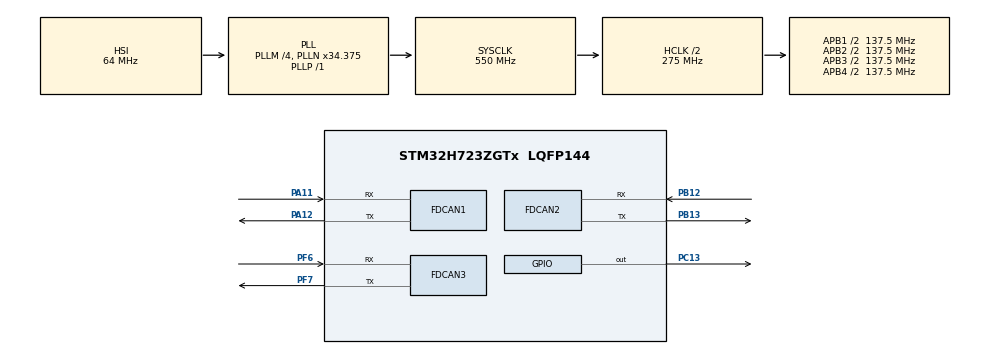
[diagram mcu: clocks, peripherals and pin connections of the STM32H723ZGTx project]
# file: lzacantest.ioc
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CORTEX_M7.default_mode_Activation=1
FDCAN1.CalculateBaudRateNominal=499999
FDCAN1.CalculateTimeBitNominal=2000
FDCAN1.CalculateTimeQuantumNominal=83.33333333333334
FDCAN1.NominalPrescaler=10
FDCAN1.NominalTimeSeg1=12
FDCAN1.NominalTimeSeg2=11
FDCAN1.RxFifo0ElmtsNbr=8
FDCAN1.RxFifo1ElmtsNbr=8
FDCAN1.TxFifoQueueElmtsNbr=8
FDCAN2.CalculateBaudRateNominal=499999
FDCAN2.CalculateTimeBitNominal=2000
FDCAN2.CalculateTimeQuantumNominal=83.33333333333334
FDCAN2.NominalPrescaler=10
FDCAN2.NominalTimeSeg1=12
FDCAN2.NominalTimeSeg2=11
FDCAN2.RxFifo0ElmtsNbr=8
FDCAN2.RxFifo1ElmtsNbr=8
FDCAN2.StdFiltersNbr=1
FDCAN2.TxFifoQueueElmtsNbr=8
FDCAN3.CalculateBaudRateNominal=499999
FDCAN3.CalculateTimeBitNominal=2000
FDCAN3.CalculateTimeQuantumNominal=83.33333333333334
FDCAN3.Mode=FDCAN_MODE_INTERNAL_LOOPBACK
FDCAN3.NominalPrescaler=10
FDCAN3.NominalTimeSeg1=12
FDCAN3.NominalTimeSeg2=11
FDCAN3.RxFifo0ElmtsNbr=8
FDCAN3.RxFifo1ElmtsNbr=8
FDCAN3.StdFiltersNbr=1
FDCAN3.TxFifoQueueElmtsNbr=8
Mcu.Family=STM32H7
Mcu.Name=STM32H723ZGTx
Mcu.Package=LQFP144
NVIC.PriorityGroup=NVIC_PRIORITYGROUP_4
NVIC.TIM1_UP_IRQn=true\:0\:0\:false\:false\:true\:true\:true\:true
PA11.Mode=FDCAN_Activate
PA11.Signal=FDCAN1_RX
PA12.Mode=FDCAN_Activate
PA12.Signal=FDCAN1_TX
PA13(JTMS/SWDIO).Mode=Serial_Wire
PA13(JTMS/SWDIO).Signal=DEBUG_JTMS-SWDIO
PA14(JTCK/SWCLK).Mode=Serial_Wire
PA14(JTCK/SWCLK).Signal=DEBUG_JTCK-SWCLK
PB12.Mode=FDCAN_Activate
PB12.Signal=FDCAN2_RX
PB13.Mode=FDCAN_Activate
PB13.Signal=FDCAN2_TX
PC13.Signal=GPIO_Output
PC14-OSC32_IN.Mode=LSE-External-Oscillator
PC14-OSC32_IN.Signal=RCC_OSC32_IN
PC15-OSC32_OUT.Mode=LSE-External-Oscillator
PC15-OSC32_OUT.Signal=RCC_OSC32_OUT
PF6.Mode=FDCAN_Activate
PF6.Signal=FDCAN3_RX
PF7.Mode=FDCAN_Activate
PF7.Signal=FDCAN3_TX
PH0-OSC_IN.Mode=HSE-External-Oscillator
PH0-OSC_IN.Signal=RCC_OSC_IN
PH1-OSC_OUT.Mode=HSE-External-Oscillator
PH1-OSC_OUT.Signal=RCC_OSC_OUT
ProjectManager.HeapSize=0x200
ProjectManager.StackSize=0x400
ProjectManager.TargetToolchain=CMake
RCC.ADCFreq_Value=120000000
RCC.APB1Freq_Value=137500000
RCC.APB2Freq_Value=137500000
RCC.APB3Freq_Value=137500000
RCC.APB4Freq_Value=137500000
RCC.CortexFreq_Value=550000000
RCC.D1PPRE=RCC_APB3_DIV2
RCC.D2PPRE1=RCC_APB1_DIV2
RCC.D2PPRE2=RCC_APB2_DIV2
RCC.D3PPRE=RCC_APB4_DIV2
RCC.DIVM1=4
RCC.DIVN1=34
RCC.DIVN2=120
RCC.DIVP1=1
RCC.DIVQ1=4
RCC.FDCANCLockSelection=RCC_FDCANCLKSOURCE_PLL2
RCC.HCLKFreq_Value=275000000
RCC.HPRE=RCC_HCLK_DIV2
RCC.PLL2FRACN=0
RCC.PLL3FRACN=0
RCC.PLLFRACN=3072
RCC.SYSCLKFreq_VALUE=550000000
RCC.SYSCLKSource=RCC_SYSCLKSOURCE_PLLCLK
RCC.USBFreq_Value=137500000
TIM1.Period=1000 - 1
TIM1.Prescaler=275 - 1
VP_MEMORYMAP_VS_MEMORYMAP.Mode=CurAppReg
VP_TIM1_VS_ClockSourceINT.Mode=Internal
board=custom

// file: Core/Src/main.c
/* USER CODE BEGIN Header */
/**
  ******************************************************************************
  * @file           : main.c
  * @brief          : Main program body
  ******************************************************************************
  * @attention
  *
  * Copyright (c) 2026 STMicroelectronics.
  * All rights reserved.
  *
  * This software is licensed under terms that can be found in the LICENSE file
  * in the root directory of this software component.
  * If no LICENSE file comes with this software, it is provided AS-IS.
  *
  ******************************************************************************
  */
/* USER CODE END Header */
#include "main.h"
#include "fdcan.h"
#include "tim.h"
#include "gpio.h"

/* USER CODE BEGIN Includes */

#include "tim.h"

/* USER CODE END Includes */

/* USER CODE BEGIN PV */

uint8_t can_loop_flag = 0;  // 当前can标志位
// 定义CAN报文头和数据
FDCAN_TxHeaderTypeDef TxHeader1;
FDCAN_TxHeaderTypeDef TxHeader2;
FDCAN_RxHeaderTypeDef RxHeader1;
FDCAN_RxHeaderTypeDef RxHeader2;
uint8_t TxData1[8];
uint8_t TxData2[8];
uint8_t RxData1[8];
uint8_t RxData2[8];

/* FDCAN3 回环测试变量 */
FDCAN_TxHeaderTypeDef TxHeader3;
FDCAN_RxHeaderTypeDef RxHeader3;
uint8_t TxData3[8];
uint8_t RxData3[8];

/* USER CODE END PV */

void SystemClock_Config(void);
void PeriphCommonClock_Config(void);
static void MPU_Config(void);

/* USER CODE BEGIN 0 */

void HAL_TIM_PeriodElapsedCallback(TIM_HandleTypeDef *htim) {

  if (htim->Instance == TIM1) {
    can_loop_flag = 1; // 设置标志位，表示可以开始CAN通信
  }
}

/* USER CODE END 0 */

int main(void)
{

  /* MPU Configuration--------------------------------------------------------*/
  MPU_Config();

  /* MCU Configuration--------------------------------------------------------*/

  /* Reset of all peripherals, Initializes the Flash interface and the Systick. */
  HAL_Init();

  /* Configure the system clock */
  SystemClock_Config();

  /* Configure the peripherals common clocks */
  PeriphCommonClock_Config();

  /* Initialize all configured peripherals */
  MX_GPIO_Init();
  MX_FDCAN1_Init();
  MX_TIM1_Init();
  MX_FDCAN2_Init();
  MX_FDCAN3_Init();
  /* USER CODE BEGIN 2 */

  // 开启定时器中断
  HAL_TIM_Base_Start_IT(&htim1);
  // 开启CAN
  HAL_FDCAN_Start(&hfdcan1);
  HAL_FDCAN_Start(&hfdcan2);
  // 配置CAN滤波器
  FDCAN_FilterTypeDef sFilterConfig1;
  sFilterConfig1.IdType = FDCAN_STANDARD_ID;
  sFilterConfig1.FilterIndex = 0;  // 使用第一个滤波器
  sFilterConfig1.FilterType = FDCAN_FILTER_MASK;  // 设置滤波器类型为掩码模式
  sFilterConfig1.FilterConfig = FDCAN_FILTER_TO_RXFIFO0;  // 设置滤波器配置为接收FIFO0
  sFilterConfig1.FilterID1 = 0x000;  // 设置滤波器ID1为0x123
  sFilterConfig1.FilterID2 = 0x000; // 设置滤波器ID2为0x7FF，表示只接收ID为0x123的报文
  if (HAL_FDCAN_ConfigFilter(&hfdcan1, &sFilterConfig1) != HAL_OK)
  {
    // 滤波器配置失败，进行错误处理
    Error_Handler();
  }

  FDCAN_FilterTypeDef sFilterConfig2;
  sFilterConfig2.IdType = FDCAN_STANDARD_ID;
  sFilterConfig2.FilterIndex = 0;  // 使用第一个滤波器
  sFilterConfig2.FilterType = FDCAN_FILTER_MASK;  // 设置滤波器类型为掩码模式
  sFilterConfig2.FilterConfig = FDCAN_FILTER_TO_RXFIFO0;  // 设置滤波器配置为接收FIFO0
  sFilterConfig2.FilterID1 = 0x000;  // 设置滤波器ID1为0x456
  sFilterConfig2.FilterID2 = 0x000; // 设置滤波器ID2为0x7FF，表示只接收ID为0x456的报文
  if (HAL_FDCAN_ConfigFilter(&hfdcan2, &sFilterConfig2) != HAL_OK)
  {
    // 滤波器配置失败，进行错误处理
    Error_Handler();
  }

  // 开启CAN3
  HAL_FDCAN_Start(&hfdcan3);
  // 配置CAN3滤波器（回环自测，接受所有报文）
  FDCAN_FilterTypeDef sFilterConfig3;
  sFilterConfig3.IdType = FDCAN_STANDARD_ID;
  sFilterConfig3.FilterIndex = 0;
  sFilterConfig3.FilterType = FDCAN_FILTER_MASK;
  sFilterConfig3.FilterConfig = FDCAN_FILTER_TO_RXFIFO0;
  sFilterConfig3.FilterID1 = 0x000;
  sFilterConfig3.FilterID2 = 0x000;
  if (HAL_FDCAN_ConfigFilter(&hfdcan3, &sFilterConfig3) != HAL_OK)
  {
    Error_Handler();
  }

  // CAN3 发送报文头初始化（回环自测）
  TxHeader3.Identifier = 0x321;
  TxHeader3.IdType = FDCAN_STANDARD_ID;
  TxHeader3.TxFrameType = FDCAN_DATA_FRAME;
  TxHeader3.DataLength = FDCAN_DLC_BYTES_8;
  TxHeader3.ErrorStateIndicator = FDCAN_ESI_ACTIVE;
  TxHeader3.BitRateSwitch = FDCAN_BRS_OFF;
  TxHeader3.FDFormat = FDCAN_CLASSIC_CAN;
  TxHeader3.TxEventFifoControl = FDCAN_NO_TX_EVENTS;
  TxHeader3.MessageMarker = 0;
  // 发送CAN报文
  TxHeader1.Identifier = 0x123; // 设置报文ID为0x123
  TxHeader1.IdType = FDCAN_STANDARD_ID; // 设置ID类型为标准
  TxHeader1.TxFrameType = FDCAN_DATA_FRAME; // 设置帧类型为数据帧
  TxHeader1.DataLength = FDCAN_DLC_BYTES_8; // 设置数据长度为8字节
  TxHeader1.ErrorStateIndicator = FDCAN_ESI_ACTIVE; // 设置错误状态指示器为活动
  TxHeader1.BitRateSwitch = FDCAN_BRS_OFF; // 设置比特率切换为关闭
  TxHeader1.FDFormat = FDCAN_CLASSIC_CAN; // 设置FD格式为经典CAN
  TxHeader1.TxEventFifoControl = FDCAN_NO_TX_EVENTS; // 设置TX事件FIFO控制为无TX事件
  TxHeader1.MessageMarker = 0; // 设置消息标记为0
  TxData1[0] = 0x01; // 设置数据字节0为0x01
  HAL_FDCAN_AddMessageToTxFifoQ(&hfdcan1, &TxHeader1, TxData1); // 将报文添加到发送队列
  // 接收CAN报文
  RxHeader2.Identifier = 0x123; // 设置报文ID为0x123
  RxHeader2.IdType = FDCAN_STANDARD_ID; // 设置ID类型为标准
  RxHeader2.RxFrameType = FDCAN_DATA_FRAME; // 设置帧类型为数据帧
  RxHeader2.DataLength = FDCAN_DLC_BYTES_8; // 设置数据长度为8字节
  RxHeader2.ErrorStateIndicator = FDCAN_ESI_ACTIVE; // 设置错误状态指示器为活动
  RxHeader2.BitRateSwitch = FDCAN_BRS_OFF; // 设置比特率切换为关闭
  RxHeader2.FDFormat = FDCAN_CLASSIC_CAN; // 设置FD格式为经典CAN

  /* USER CODE END 2 */

  /* Infinite loop */
  /* USER CODE BEGIN WHILE */
  while (1)
  {
    static uint32_t tx_count1 = 0; // CAN1发送计数器
    static uint32_t rx_count2 = 0; // CAN2接收计数器
    static uint32_t tx_count3 = 0; // CAN3回环发送计数器
    static uint32_t rx_count3 = 0; // CAN3回环接收计数器
    if (can_loop_flag) {
      can_loop_flag = 0; // 清除标志位

      if (HAL_FDCAN_AddMessageToTxFifoQ(&hfdcan1, &TxHeader1, TxData1) == HAL_OK) {
        tx_count1++; // 发送成功，计数器加1
      }

      /* CAN2 接收检查：收到则翻转 LED */
      if (HAL_FDCAN_GetRxFifoFillLevel(&hfdcan2, FDCAN_RX_FIFO0) > 0) {
        if (HAL_FDCAN_GetRxMessage(&hfdcan2, FDCAN_RX_FIFO0, &RxHeader2, RxData2) == HAL_OK) {
          rx_count2++; // 接收成功，计数器加1
        }
      }

      /* FDCAN3 回环测试 */
      if (HAL_FDCAN_AddMessageToTxFifoQ(&hfdcan3, &TxHeader3, TxData3) == HAL_OK) {
        tx_count3++;
      }
      if (HAL_FDCAN_GetRxFifoFillLevel(&hfdcan3, FDCAN_RX_FIFO0) > 0) {
        if (HAL_FDCAN_GetRxMessage(&hfdcan3, FDCAN_RX_FIFO0, &RxHeader3, RxData3) == HAL_OK) {
          rx_count3++;
        }
      }
    }
    /* USER CODE END WHILE */

  }
}

void SystemClock_Config(void)
{
  RCC_OscInitTypeDef RCC_OscInitStruct = {0};
  RCC_ClkInitTypeDef RCC_ClkInitStruct = {0};

  /** Supply configuration update enable
  */
  HAL_PWREx_ConfigSupply(PWR_LDO_SUPPLY);

  /** Configure the main internal regulator output voltage
  */
  __HAL_PWR_VOLTAGESCALING_CONFIG(PWR_REGULATOR_VOLTAGE_SCALE0);

  while(!__HAL_PWR_GET_FLAG(PWR_FLAG_VOSRDY)) {}

  /** Initializes the RCC Oscillators according to the specified parameters
  * in the RCC_OscInitTypeDef structure.
  */
  RCC_OscInitStruct.OscillatorType = RCC_OSCILLATORTYPE_HSI;
  RCC_OscInitStruct.HSIState = RCC_HSI_DIV1;
  RCC_OscInitStruct.HSICalibrationValue = 64;
  RCC_OscInitStruct.PLL.PLLState = RCC_PLL_ON;
  RCC_OscInitStruct.PLL.PLLSource = RCC_PLLSOURCE_HSI;
  RCC_OscInitStruct.PLL.PLLM = 4;
  RCC_OscInitStruct.PLL.PLLN = 34;
  RCC_OscInitStruct.PLL.PLLP = 1;
  RCC_OscInitStruct.PLL.PLLQ = 4;
  RCC_OscInitStruct.PLL.PLLR = 2;
  RCC_OscInitStruct.PLL.PLLRGE = RCC_PLL1VCIRANGE_3;
  RCC_OscInitStruct.PLL.PLLVCOSEL = RCC_PLL1VCOWIDE;
  RCC_OscInitStruct.PLL.PLLFRACN = 3072;
  if (HAL_RCC_OscConfig(&RCC_OscInitStruct) != HAL_OK)
  {
    Error_Handler();
  }

  /** Initializes the CPU, AHB and APB buses clocks
  */
  RCC_ClkInitStruct.ClockType = RCC_CLOCKTYPE_HCLK|RCC_CLOCKTYPE_SYSCLK
                              |RCC_CLOCKTYPE_PCLK1|RCC_CLOCKTYPE_PCLK2
                              |RCC_CLOCKTYPE_D3PCLK1|RCC_CLOCKTYPE_D1PCLK1;
  RCC_ClkInitStruct.SYSCLKSource = RCC_SYSCLKSOURCE_PLLCLK;
  RCC_ClkInitStruct.SYSCLKDivider = RCC_SYSCLK_DIV1;
  RCC_ClkInitStruct.AHBCLKDivider = RCC_HCLK_DIV2;
  RCC_ClkInitStruct.APB3CLKDivider = RCC_APB3_DIV2;
  RCC_ClkInitStruct.APB1CLKDivider = RCC_APB1_DIV2;
  RCC_ClkInitStruct.APB2CLKDivider = RCC_APB2_DIV2;
  RCC_ClkInitStruct.APB4CLKDivider = RCC_APB4_DIV2;

  if (HAL_RCC_ClockConfig(&RCC_ClkInitStruct, FLASH_LATENCY_3) != HAL_OK)
  {
    Error_Handler();
  }
}

void PeriphCommonClock_Config(void)
{
  RCC_PeriphCLKInitTypeDef PeriphClkInitStruct = {0};

  /** Initializes the peripherals clock
  */
  PeriphClkInitStruct.PeriphClockSelection = RCC_PERIPHCLK_FDCAN;
  PeriphClkInitStruct.PLL2.PLL2M = 32;
  PeriphClkInitStruct.PLL2.PLL2N = 120;
  PeriphClkInitStruct.PLL2.PLL2P = 2;
  PeriphClkInitStruct.PLL2.PLL2Q = 2;
  PeriphClkInitStruct.PLL2.PLL2R = 2;
  PeriphClkInitStruct.PLL2.PLL2RGE = RCC_PLL2VCIRANGE_1;
  PeriphClkInitStruct.PLL2.PLL2VCOSEL = RCC_PLL2VCOWIDE;
  PeriphClkInitStruct.PLL2.PLL2FRACN = 0;
  PeriphClkInitStruct.FdcanClockSelection = RCC_FDCANCLKSOURCE_PLL2;
  if (HAL_RCCEx_PeriphCLKConfig(&PeriphClkInitStruct) != HAL_OK)
  {
    Error_Handler();
  }
}

 /* MPU Configuration */

void MPU_Config(void)
{
  MPU_Region_InitTypeDef MPU_InitStruct = {0};

  /* Disables the MPU */
  HAL_MPU_Disable();

  /** Initializes and configures the Region and the memory to be protected
  */
  MPU_InitStruct.Enable = MPU_REGION_ENABLE;
  MPU_InitStruct.Number = MPU_REGION_NUMBER0;
  MPU_InitStruct.BaseAddress = 0x0;
  MPU_InitStruct.Size = MPU_REGION_SIZE_4GB;
  MPU_InitStruct.SubRegionDisable = 0x87;
  MPU_InitStruct.TypeExtField = MPU_TEX_LEVEL0;
  MPU_InitStruct.AccessPermission = MPU_REGION_NO_ACCESS;
  MPU_InitStruct.DisableExec = MPU_INSTRUCTION_ACCESS_DISABLE;
  MPU_InitStruct.IsShareable = MPU_ACCESS_SHAREABLE;
  MPU_InitStruct.IsCacheable = MPU_ACCESS_NOT_CACHEABLE;
  MPU_InitStruct.IsBufferable = MPU_ACCESS_NOT_BUFFERABLE;

  HAL_MPU_ConfigRegion(&MPU_InitStruct);
  /* Enables the MPU */
  HAL_MPU_Enable(MPU_PRIVILEGED_DEFAULT);

}

void Error_Handler(void)
{
  __disable_irq();
  while (1)
  {
  }
}
